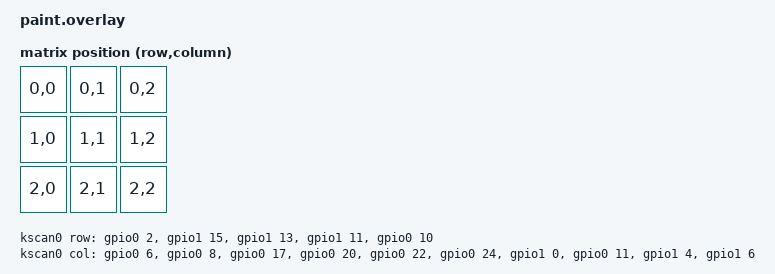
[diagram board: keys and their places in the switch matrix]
#include <dt-bindings/zmk/matrix_transform.h> // Put this with the other includes at the top of your overlay
#include "my_keyboard-layouts.dtsi"

/ {
    kscan0: kscan0 {
        compatible = "zmk,kscan-gpio-matrix";
        diode-direction = "col2row";
        wakeup-source;

        col-gpios
            = <&gpio0 6 GPIO_ACTIVE_HIGH>
            , <&gpio0 8 GPIO_ACTIVE_HIGH>
            , <&gpio0 17 GPIO_ACTIVE_HIGH>
            , <&gpio0 20 GPIO_ACTIVE_HIGH>
            , <&gpio0 22 GPIO_ACTIVE_HIGH>
            , <&gpio0 24 GPIO_ACTIVE_HIGH>
            , <&gpio1 0 GPIO_ACTIVE_HIGH>
            , <&gpio0 11 GPIO_ACTIVE_HIGH>
            , <&gpio1 4 GPIO_ACTIVE_HIGH>
            , <&gpio1 6 GPIO_ACTIVE_HIGH>
            ;

        row-gpios
            = <&gpio0 2 (GPIO_ACTIVE_HIGH | GPIO_PULL_DOWN)>
            , <&gpio1 15 (GPIO_ACTIVE_HIGH | GPIO_PULL_DOWN)>
            , <&gpio1 13 (GPIO_ACTIVE_HIGH | GPIO_PULL_DOWN)>
            , <&gpio1 11 (GPIO_ACTIVE_HIGH | GPIO_PULL_DOWN)>
            , <&gpio0 10 (GPIO_ACTIVE_HIGH | GPIO_PULL_DOWN)>
            ;
    };
};

/ {
    default_transform: keymap_transform0 {
        compatible = "zmk,matrix-transform";
        columns = <3>; // Length of the "col-gpios" array
        rows = <3>; // Length of the "row-gpios" array
        map = <
        //   Key 1 | Key 2 | Key 3
            RC(0,0) RC(0,1) RC(0,2)
        //   Key 4 | Key 5 | Key 6
            RC(1,0) RC(1,1) RC(1,2)
        //   Key 7 | Key 8 | Key 9
            RC(2,0) RC(2,1) RC(2,2)
        >;
    };
};

/ {
    chosen {
        zmk,physical-layout = &physical_layout0;
        // Other chosen items
    };
};
